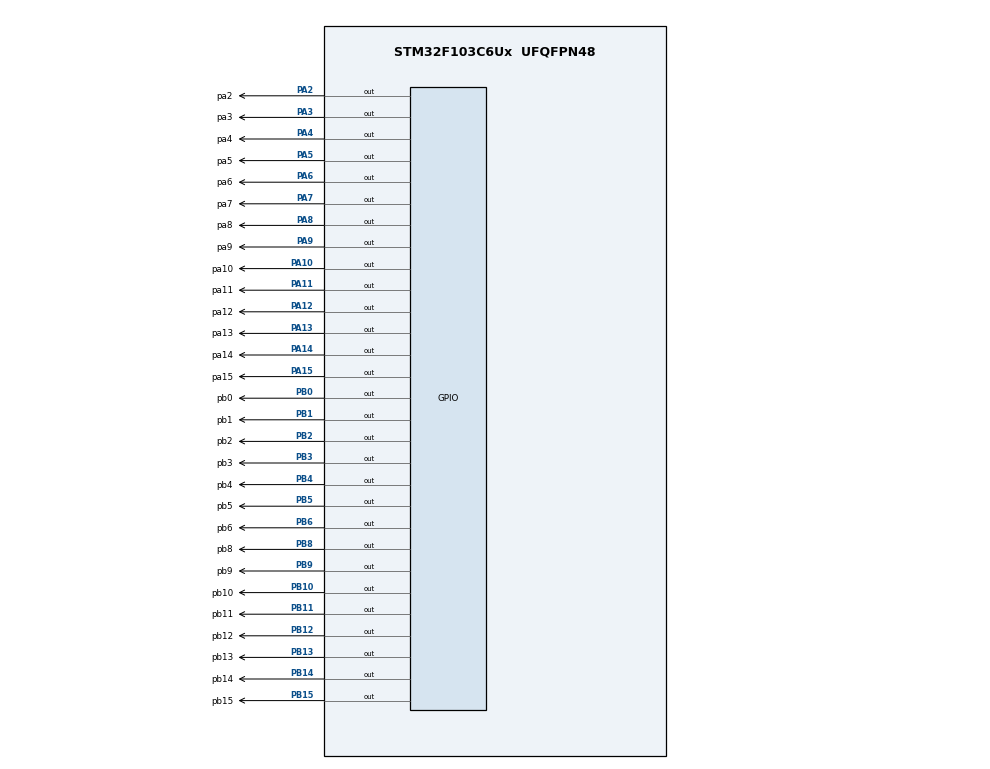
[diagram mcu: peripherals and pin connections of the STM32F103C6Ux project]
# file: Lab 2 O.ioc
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Mcu.Family=STM32F1
Mcu.Name=STM32F103C6Ux
Mcu.Package=UFQFPN48
NVIC.PriorityGroup=NVIC_PRIORITYGROUP_4
NVIC.TIM2_IRQn=true\:0\:0\:false\:false\:true\:true\:true
PA10.GPIO_Label=pa10
PA10.Signal=GPIO_Output
PA11.GPIO_Label=pa11
PA11.Signal=GPIO_Output
PA12.GPIO_Label=pa12
PA12.Signal=GPIO_Output
PA13.GPIO_Label=pa13
PA13.Signal=GPIO_Output
PA14.GPIO_Label=pa14
PA14.Signal=GPIO_Output
PA15.GPIO_Label=pa15
PA15.Signal=GPIO_Output
PA2.GPIO_Label=pa2
PA2.Signal=GPIO_Output
PA3.GPIO_Label=pa3
PA3.Signal=GPIO_Output
PA4.GPIO_Label=pa4
PA4.Signal=GPIO_Output
PA5.GPIO_Label=pa5
PA5.Signal=GPIO_Output
PA6.GPIO_Label=pa6
PA6.Signal=GPIO_Output
PA7.GPIO_Label=pa7
PA7.Signal=GPIO_Output
PA8.GPIO_Label=pa8
PA8.Signal=GPIO_Output
PA9.GPIO_Label=pa9
PA9.Signal=GPIO_Output
PB0.GPIO_Label=pb0
PB0.Signal=GPIO_Output
PB1.GPIO_Label=pb1
PB1.Signal=GPIO_Output
PB10.GPIO_Label=pb10
PB10.Signal=GPIO_Output
PB11.GPIO_Label=pb11
PB11.Signal=GPIO_Output
PB12.GPIO_Label=pb12
PB12.Signal=GPIO_Output
PB13.GPIO_Label=pb13
PB13.Signal=GPIO_Output
PB14.GPIO_Label=pb14
PB14.Signal=GPIO_Output
PB15.GPIO_Label=pb15
PB15.Signal=GPIO_Output
PB2.GPIO_Label=pb2
PB2.Signal=GPIO_Output
PB3.GPIO_Label=pb3
PB3.Signal=GPIO_Output
PB4.GPIO_Label=pb4
PB4.Signal=GPIO_Output
PB5.GPIO_Label=pb5
PB5.Signal=GPIO_Output
PB6.GPIO_Label=pb6
PB6.Signal=GPIO_Output
PB8.GPIO_Label=pb8
PB8.Signal=GPIO_Output
PB9.GPIO_Label=pb9
PB9.Signal=GPIO_Output
ProjectManager.HeapSize=0x200
ProjectManager.StackSize=0x400
ProjectManager.TargetToolchain=STM32CubeIDE
RCC.APB1Freq_Value=8000000
RCC.APB2Freq_Value=8000000
TIM2.Period=10
TIM2.Prescaler=7999
VP_SYS_VS_ND.Mode=No_Debug
VP_TIM2_VS_ClockSourceINT.Mode=Internal
board=custom

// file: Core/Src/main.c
/* USER CODE BEGIN Header */
/**
  ******************************************************************************
  * @file           : main.c
  * @brief          : Main program body
  ******************************************************************************
  * @attention
  *
  * <h2><center>&copy; Copyright (c) 2024 STMicroelectronics.
  * All rights reserved.</center></h2>
  *
  * This software component is licensed by ST under BSD 3-Clause license,
  * the "License"; You may not use this file except in compliance with the
  * License. You may obtain a copy of the License at:
  *                        opensource.org/licenses/BSD-3-Clause
  *
  ******************************************************************************
  */
/* USER CODE END Header */
#include "main.h"

/* USER CODE BEGIN Includes */
#include "software_timer.h"
#include "Exercise 1 2 3 4 5 6 7 8 9 10.h"
/* USER CODE END Includes */

TIM_HandleTypeDef htim2;

void SystemClock_Config(void);
static void MX_TIM2_Init(void);
static void MX_GPIO_Init(void);

int main(void)
{
  /* USER CODE BEGIN 1 */
  setTimer(0,0);
  setTimer(1,0);
  setTimer(2,25);
  setTimer(3,50);
  setTimer(4,75);
  setTimer(5,0);
  setTimer(6,0);
//  int hour=15, minute=8,second=50;
  int haha=0;
  int status=0;
  /* USER CODE END 1 */

  /* MCU Configuration--------------------------------------------------------*/

  /* Reset of all peripherals, Initializes the Flash interface and the Systick. */
  HAL_Init();

  /* USER CODE BEGIN Init */
  init_exercise1();
  /* USER CODE END Init */

  /* Configure the system clock */
  SystemClock_Config();

  /* Initialize all configured peripherals */
  MX_TIM2_Init();
  MX_GPIO_Init();
  /* USER CODE BEGIN 2 */
  HAL_TIM_Base_Start_IT(&htim2);
  /* USER CODE END 2 */

  /* Infinite loop */
  /* USER CODE BEGIN WHILE */

  while (1)
  {
	  if (timer_flag[0]==1){
		  setTimer(0,100);
		  HAL_GPIO_TogglePin(pa5_GPIO_Port, pa5_Pin);
		  HAL_GPIO_WritePin(pa4_GPIO_Port, pa4_Pin,SET);
	  }
//	  if (timer_flag[1]==1){
//		  setTimer(1,100);
//		  update7SEG(0);
//	  }
//	  if (timer_flag[2]==1){
//		  setTimer(2,100);
//		  update7SEG(1);
//	  }
//	  if (timer_flag[3]==1){
//		  setTimer(3,100);
//		  update7SEG(2);
//	  }
//	  if (timer_flag[4]==1){
//		  setTimer(4,100);
//		  update7SEG(3);
//	  }
//	  if (timer_flag[5]==1){
//		  setTimer(5,100);
//		  second++;
//		  if (second>=60){
//		  	  second=0;
//		  	  minute++;
//		  }
//		  if (minute>=60){
//		  	  minute=0;
//		  	  hour++;
//		  }
//		  if (hour>=24){
//			  hour=0;
//		  }
//		  updateClockBuffer(hour,minute);
//	  }
	  if (timer_flag[6]==1){
		  setTimer(6,1);
		  if (status>=0&&status<24){updateLEDMatrix0(haha);}
		  if (status>=24&&status<48){updateLEDMatrix1(haha);}
		  if (status>=48&&status<72){updateLEDMatrix2(haha);}
		  if (status>=72&&status<96){updateLEDMatrix3(haha);}
		  if (status>=96&&status<120){updateLEDMatrix4(haha);}
		  if (status>=120&&status<144){updateLEDMatrix5(haha);}
		  if (status>=144&&status<168){updateLEDMatrix6(haha);}
		  if (status>=168&&status<196){updateLEDMatrix7(haha);}
		  //updateLEDMatrix2(haha);
		  haha=(haha+1)%8;
		  status=(status+1)%196;

	  }
    /* USER CODE END WHILE */

  }
}

void SystemClock_Config(void)
{
  RCC_OscInitTypeDef RCC_OscInitStruct = {0};
  RCC_ClkInitTypeDef RCC_ClkInitStruct = {0};

  /** Initializes the RCC Oscillators according to the specified parameters
  * in the RCC_OscInitTypeDef structure.
  */
  RCC_OscInitStruct.OscillatorType = RCC_OSCILLATORTYPE_HSI;
  RCC_OscInitStruct.HSIState = RCC_HSI_ON;
  RCC_OscInitStruct.HSICalibrationValue = RCC_HSICALIBRATION_DEFAULT;
  RCC_OscInitStruct.PLL.PLLState = RCC_PLL_NONE;
  if (HAL_RCC_OscConfig(&RCC_OscInitStruct) != HAL_OK)
  {
    Error_Handler();
  }
  /** Initializes the CPU, AHB and APB buses clocks
  */
  RCC_ClkInitStruct.ClockType = RCC_CLOCKTYPE_HCLK|RCC_CLOCKTYPE_SYSCLK
                              |RCC_CLOCKTYPE_PCLK1|RCC_CLOCKTYPE_PCLK2;
  RCC_ClkInitStruct.SYSCLKSource = RCC_SYSCLKSOURCE_HSI;
  RCC_ClkInitStruct.AHBCLKDivider = RCC_SYSCLK_DIV1;
  RCC_ClkInitStruct.APB1CLKDivider = RCC_HCLK_DIV1;
  RCC_ClkInitStruct.APB2CLKDivider = RCC_HCLK_DIV1;

  if (HAL_RCC_ClockConfig(&RCC_ClkInitStruct, FLASH_LATENCY_0) != HAL_OK)
  {
    Error_Handler();
  }
}

static void MX_TIM2_Init(void)
{

  TIM_ClockConfigTypeDef sClockSourceConfig = {0};
  TIM_MasterConfigTypeDef sMasterConfig = {0};

  htim2.Instance = TIM2;
  htim2.Init.Prescaler = 7999;
  htim2.Init.CounterMode = TIM_COUNTERMODE_UP;
  htim2.Init.Period = 10;
  htim2.Init.ClockDivision = TIM_CLOCKDIVISION_DIV1;
  htim2.Init.AutoReloadPreload = TIM_AUTORELOAD_PRELOAD_DISABLE;
  if (HAL_TIM_Base_Init(&htim2) != HAL_OK)
  {
    Error_Handler();
  }
  sClockSourceConfig.ClockSource = TIM_CLOCKSOURCE_INTERNAL;
  if (HAL_TIM_ConfigClockSource(&htim2, &sClockSourceConfig) != HAL_OK)
  {
    Error_Handler();
  }
  sMasterConfig.MasterOutputTrigger = TIM_TRGO_RESET;
  sMasterConfig.MasterSlaveMode = TIM_MASTERSLAVEMODE_DISABLE;
  if (HAL_TIMEx_MasterConfigSynchronization(&htim2, &sMasterConfig) != HAL_OK)
  {
    Error_Handler();
  }

}

static void MX_GPIO_Init(void)
{
  GPIO_InitTypeDef GPIO_InitStruct = {0};

  /* GPIO Ports Clock Enable */
  __HAL_RCC_GPIOA_CLK_ENABLE();
  __HAL_RCC_GPIOB_CLK_ENABLE();

  /*Configure GPIO pin Output Level */
  HAL_GPIO_WritePin(GPIOA, pa2_Pin|pa3_Pin|pa4_Pin|pa5_Pin
                          |pa6_Pin|pa7_Pin|pa8_Pin|pa9_Pin
                          |pa10_Pin|pa11_Pin|pa12_Pin|pa13_Pin
                          |pa14_Pin|pa15_Pin, GPIO_PIN_RESET);

  /*Configure GPIO pin Output Level */
  HAL_GPIO_WritePin(GPIOB, pb0_Pin|pb1_Pin|pb2_Pin|pb10_Pin
                          |pb11_Pin|pb12_Pin|pb13_Pin|pb14_Pin
                          |pb15_Pin|pb3_Pin|pb4_Pin|pb5_Pin
                          |pb6_Pin|pb8_Pin|pb9_Pin, GPIO_PIN_RESET);

  /*Configure GPIO pins : pa2_Pin pa3_Pin pa4_Pin pa5_Pin
                           pa6_Pin pa7_Pin pa8_Pin pa9_Pin
                           pa10_Pin pa11_Pin pa12_Pin pa13_Pin
                           pa14_Pin pa15_Pin */
  GPIO_InitStruct.Pin = pa2_Pin|pa3_Pin|pa4_Pin|pa5_Pin
                          |pa6_Pin|pa7_Pin|pa8_Pin|pa9_Pin
                          |pa10_Pin|pa11_Pin|pa12_Pin|pa13_Pin
                          |pa14_Pin|pa15_Pin;
  GPIO_InitStruct.Mode = GPIO_MODE_OUTPUT_PP;
  GPIO_InitStruct.Pull = GPIO_NOPULL;
  GPIO_InitStruct.Speed = GPIO_SPEED_FREQ_LOW;
  HAL_GPIO_Init(GPIOA, &GPIO_InitStruct);

  /*Configure GPIO pins : pb0_Pin pb1_Pin pb2_Pin pb10_Pin
                           pb11_Pin pb12_Pin pb13_Pin pb14_Pin
                           pb15_Pin pb3_Pin pb4_Pin pb5_Pin
                           pb6_Pin pb8_Pin pb9_Pin */
  GPIO_InitStruct.Pin = pb0_Pin|pb1_Pin|pb2_Pin|pb10_Pin
                          |pb11_Pin|pb12_Pin|pb13_Pin|pb14_Pin
                          |pb15_Pin|pb3_Pin|pb4_Pin|pb5_Pin
                          |pb6_Pin|pb8_Pin|pb9_Pin;
  GPIO_InitStruct.Mode = GPIO_MODE_OUTPUT_PP;
  GPIO_InitStruct.Pull = GPIO_NOPULL;
  GPIO_InitStruct.Speed = GPIO_SPEED_FREQ_LOW;
  HAL_GPIO_Init(GPIOB, &GPIO_InitStruct);

}

/* USER CODE BEGIN 4 */
void HAL_TIM_PeriodElapsedCallback(TIM_HandleTypeDef *htim){
	timerRun();
}
/* USER CODE END 4 */

void Error_Handler(void)
{
  __disable_irq();
  while (1)
  {
  }
}

/************************ (C) COPYRIGHT STMicroelectronics *****END OF FILE****/
